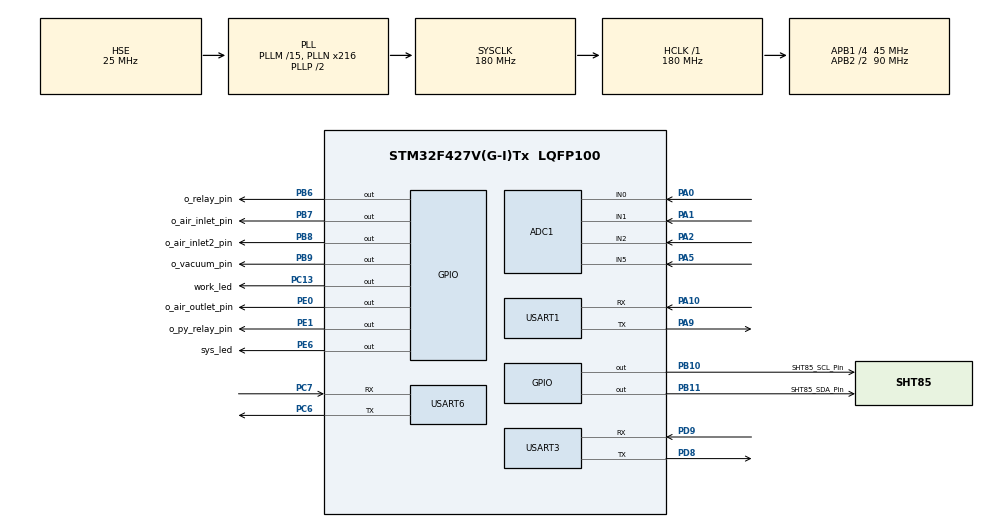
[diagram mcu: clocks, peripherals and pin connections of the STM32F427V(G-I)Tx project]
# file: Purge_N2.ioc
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ADC1.Channel-0\#ChannelRegularConversion=ADC_CHANNEL_1
ADC1.ContinuousConvMode=DISABLE
ADC1.NbrOfConversionFlag=1
ADC1.Rank-0\#ChannelRegularConversion=1
ADC1.SamplingTime-0\#ChannelRegularConversion=ADC_SAMPLETIME_3CYCLES
ADC1.ScanConvMode=DISABLE
ADC1.master=1
Dma.Request0=USART1_RX
Dma.USART1_RX.0.Direction=DMA_PERIPH_TO_MEMORY
Dma.USART1_RX.0.FIFOMode=DMA_FIFOMODE_DISABLE
Dma.USART1_RX.0.Instance=DMA2_Stream2
Dma.USART1_RX.0.MemDataAlignment=DMA_MDATAALIGN_BYTE
Dma.USART1_RX.0.MemInc=DMA_MINC_ENABLE
Dma.USART1_RX.0.Mode=DMA_NORMAL
Dma.USART1_RX.0.PeriphDataAlignment=DMA_PDATAALIGN_BYTE
Dma.USART1_RX.0.PeriphInc=DMA_PINC_DISABLE
Dma.USART1_RX.0.Priority=DMA_PRIORITY_LOW
FREERTOS.Tasks01=defaultTask,24,128,StartDefaultTask,Default,NULL,Dynamic,NULL,NULL;myTask02,24,256,Analyse_HostCMDTask,Default,NULL,Dynamic,NULL,NULL;myTask03,8,128,System_ProcessTask,Default,NULL,Dynamic,NULL,NULL
Mcu.Family=STM32F4
Mcu.Name=STM32F427V(G-I)Tx
Mcu.Package=LQFP100
NVIC.DMA2_Stream2_IRQn=true\:5\:0\:false\:false\:true\:true\:false\:true\:true
NVIC.PriorityGroup=NVIC_PRIORITYGROUP_4
NVIC.TIM1_UP_TIM10_IRQn=true\:15\:0\:false\:false\:true\:false\:false\:true\:true
NVIC.TimeBase=TIM1_UP_TIM10_IRQn
NVIC.TimeBaseIP=TIM10
NVIC.USART1_IRQn=true\:5\:0\:false\:false\:true\:true\:true\:true\:true
NVIC.USART3_IRQn=true\:5\:0\:false\:false\:true\:true\:true\:true\:true
PA0/WKUP.Signal=ADCx_IN0
PA1.Signal=ADCx_IN1
PA10.Mode=Asynchronous
PA10.Signal=USART1_RX
PA13.Mode=Serial_Wire
PA13.Signal=SYS_JTMS-SWDIO
PA14.Mode=Serial_Wire
PA14.Signal=SYS_JTCK-SWCLK
PA2.Signal=ADCx_IN2
PA5.Signal=ADCx_IN5
PA9.Mode=Asynchronous
PA9.Signal=USART1_TX
PB10.GPIO_Label=SHT85_SCL_Pin
PB10.GPIO_ModeDefaultOutputPP=GPIO_MODE_OUTPUT_OD
PB10.GPIO_PuPd=GPIO_NOPULL
PB10.PinState=GPIO_PIN_SET
PB10.Signal=GPIO_Output
PB11.GPIO_Label=SHT85_SDA_Pin
PB11.GPIO_ModeDefaultOutputPP=GPIO_MODE_OUTPUT_OD
PB11.GPIO_PuPd=GPIO_NOPULL
PB11.PinState=GPIO_PIN_SET
PB11.Signal=GPIO_Output
PB6.GPIO_Label=o_relay_pin
PB6.PinState=GPIO_PIN_RESET
PB6.Signal=GPIO_Output
PB7.GPIO_Label=o_air_inlet_pin
PB7.PinState=GPIO_PIN_RESET
PB7.Signal=GPIO_Output
PB8.GPIO_Label=o_air_inlet2_pin
PB8.PinState=GPIO_PIN_RESET
PB8.Signal=GPIO_Output
PB9.GPIO_Label=o_vacuum_pin
PB9.PinState=GPIO_PIN_RESET
PB9.Signal=GPIO_Output
PC13.GPIO_Label=work_led
PC13.Signal=GPIO_Output
PC14/OSC32_IN.Mode=LSE-External-Oscillator
PC14/OSC32_IN.Signal=RCC_OSC32_IN
PC15/OSC32_OUT.Mode=LSE-External-Oscillator
PC15/OSC32_OUT.Signal=RCC_OSC32_OUT
PC6.Mode=Asynchronous
PC6.Signal=USART6_TX
PC7.Mode=Asynchronous
PC7.Signal=USART6_RX
PD8.Mode=Asynchronous
PD8.Signal=USART3_TX
PD9.Mode=Asynchronous
PD9.Signal=USART3_RX
PE0.GPIO_Label=o_air_outlet_pin
PE0.PinState=GPIO_PIN_RESET
PE0.Signal=GPIO_Output
PE1.GPIO_Label=o_py_relay_pin
PE1.PinState=GPIO_PIN_RESET
PE1.Signal=GPIO_Output
PE6.GPIO_Label=sys_led
PE6.Signal=GPIO_Output
PH0/OSC_IN.Mode=HSE-External-Oscillator
PH0/OSC_IN.Signal=RCC_OSC_IN
PH1/OSC_OUT.Mode=HSE-External-Oscillator
PH1/OSC_OUT.Signal=RCC_OSC_OUT
ProjectManager.HeapSize=0x200
ProjectManager.StackSize=0x400
ProjectManager.TargetToolchain=EWARM V8.50
RCC.48MHZClocksFreq_Value=90000000
RCC.AHBFreq_Value=180000000
RCC.APB1CLKDivider=RCC_HCLK_DIV4
RCC.APB1Freq_Value=45000000
RCC.APB1TimFreq_Value=90000000
RCC.APB2CLKDivider=RCC_HCLK_DIV2
RCC.APB2Freq_Value=90000000
RCC.APB2TimFreq_Value=180000000
RCC.CortexFreq_Value=180000000
RCC.HCLKFreq_Value=180000000
RCC.HSE_VALUE=25000000
RCC.HSI_VALUE=16000000
RCC.PLLM=15
RCC.PLLN=216
RCC.PLLSourceVirtual=RCC_PLLSOURCE_HSE
RCC.RCC_RTC_Clock_Source=RCC_RTCCLKSOURCE_LSE
RCC.SYSCLKFreq_VALUE=180000000
RCC.SYSCLKSource=RCC_SYSCLKSOURCE_PLLCLK
RCC.VCOOutputFreq_Value=360000000
SH.ADCx_IN0.0=ADC1_IN0,IN0
SH.ADCx_IN1.0=ADC1_IN1,IN1
SH.ADCx_IN2.0=ADC1_IN2,IN2
SH.ADCx_IN5.0=ADC1_IN5,IN5
USART1.VirtualMode=VM_ASYNC
USART3.VirtualMode=VM_ASYNC
USART6.VirtualMode=VM_ASYNC
VP_FREERTOS_VS_CMSIS_V2.Mode=CMSIS_V2
VP_SYS_VS_tim10.Mode=TIM10
board=custom

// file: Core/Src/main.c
/* USER CODE BEGIN Header */
/**
  ******************************************************************************
  * @file           : main.c
  * @brief          : Main program body
  ******************************************************************************
  * @attention
  *
  * Copyright (c) 2026 STMicroelectronics.
  * All rights reserved.
  *
  * This software is licensed under terms that can be found in the LICENSE file
  * in the root directory of this software component.
  * If no LICENSE file comes with this software, it is provided AS-IS.
  *
  ******************************************************************************
  */
/* USER CODE END Header */
#include "main.h"
#include "cmsis_os.h"
#include "adc.h"
#include "dma.h"
#include "usart.h"
#include "gpio.h"

/* USER CODE BEGIN Includes */

//#include "i2c_SHT85.h"
/* USER CODE END Includes */

/* USER CODE BEGIN PTD */
float o2_value;//全局变量存储氧气浓度值
float *flow_value; //全局变量存储流量值
//STH85_Data_t sth85_data; //全局变量存储STH85传感器数据
//HAL_StatusTypeDef sth85_init_status; //全局变量存储STH85初始化状态
float *temperature; //全局变量存储温度值
float *humidity; //全局变量存储湿度值
uint32_t* serialNumber; //全局变量存储STH85序列号
HAL_StatusTypeDef ret;
uint8_t status_flag = -1;
/* USER CODE END PTD */

/* USER CODE BEGIN PV */
//static PurgeHostComm_t g_host_comm;
/* USER CODE END PV */

void SystemClock_Config(void);
void MX_FREERTOS_Init(void);

/* USER CODE BEGIN 0 */
// 用于在IAR调试器中观察的全局变量
float debug_temperature = 0.0f;  // 调试用温度变量
float debug_humidity = 0.0f;     // 调试用湿度变量
uint32_t debug_serial_number = 0; // 调试用序列号变量
//extern TH_Class_t TH_Class_SHT85;
/* USER CODE END 0 */

int main(void)
{

  /* MCU Configuration--------------------------------------------------------*/

  /* Reset of all peripherals, Initializes the Flash interface and the Systick. */
  HAL_Init();

  /* Configure the system clock */
  SystemClock_Config();

  /* Initialize all configured peripherals */
  MX_GPIO_Init();
  MX_DMA_Init();
  MX_USART1_UART_Init();
  MX_USART6_UART_Init();
  MX_ADC1_Init();
  MX_USART3_UART_Init();

  /* Init scheduler */
  osKernelInitialize();  /* Call init function for freertos objects (in cmsis_os2.c) */
  MX_FREERTOS_Init();

  /* Start scheduler */
  osKernelStart();

  /* We should never get here as control is now taken by the scheduler */

  /* Infinite loop */
  while (1)
  {

    /* USER CODE BEGIN 3 */
    // PurgeHostComm_Process(&g_host_comm);
    // PurgeControl_Process(HAL_GetTick());

    HAL_Delay(500); //1秒间隔
  }
  /* USER CODE END 3 */
}

void SystemClock_Config(void)
{
  RCC_OscInitTypeDef RCC_OscInitStruct = {0};
  RCC_ClkInitTypeDef RCC_ClkInitStruct = {0};

  /** Configure the main internal regulator output voltage
  */
  __HAL_RCC_PWR_CLK_ENABLE();
  __HAL_PWR_VOLTAGESCALING_CONFIG(PWR_REGULATOR_VOLTAGE_SCALE1);

  /** Initializes the RCC Oscillators according to the specified parameters
  * in the RCC_OscInitTypeDef structure.
  */
  RCC_OscInitStruct.OscillatorType = RCC_OSCILLATORTYPE_HSE;
  RCC_OscInitStruct.HSEState = RCC_HSE_ON;
  RCC_OscInitStruct.PLL.PLLState = RCC_PLL_ON;
  RCC_OscInitStruct.PLL.PLLSource = RCC_PLLSOURCE_HSE;
  RCC_OscInitStruct.PLL.PLLM = 15;
  RCC_OscInitStruct.PLL.PLLN = 216;
  RCC_OscInitStruct.PLL.PLLP = RCC_PLLP_DIV2;
  RCC_OscInitStruct.PLL.PLLQ = 4;
  if (HAL_RCC_OscConfig(&RCC_OscInitStruct) != HAL_OK)
  {
    Error_Handler();
  }

  /** Activate the Over-Drive mode
  */
  if (HAL_PWREx_EnableOverDrive() != HAL_OK)
  {
    Error_Handler();
  }

  /** Initializes the CPU, AHB and APB buses clocks
  */
  RCC_ClkInitStruct.ClockType = RCC_CLOCKTYPE_HCLK|RCC_CLOCKTYPE_SYSCLK
                              |RCC_CLOCKTYPE_PCLK1|RCC_CLOCKTYPE_PCLK2;
  RCC_ClkInitStruct.SYSCLKSource = RCC_SYSCLKSOURCE_PLLCLK;
  RCC_ClkInitStruct.AHBCLKDivider = RCC_SYSCLK_DIV1;
  RCC_ClkInitStruct.APB1CLKDivider = RCC_HCLK_DIV4;
  RCC_ClkInitStruct.APB2CLKDivider = RCC_HCLK_DIV2;

  if (HAL_RCC_ClockConfig(&RCC_ClkInitStruct, FLASH_LATENCY_5) != HAL_OK)
  {
    Error_Handler();
  }
}

void HAL_TIM_PeriodElapsedCallback(TIM_HandleTypeDef *htim)
{
  if (htim->Instance == TIM10)
  {
    HAL_IncTick();
  }
}

void Error_Handler(void)
{
  /* USER CODE BEGIN Error_Handler_Debug */
  /* User can add his own implementation to report the HAL error return state */
  __disable_irq();
  while (1)
  {
    HAL_GPIO_WritePin(work_led_GPIO_Port, work_led_Pin, GPIO_PIN_RESET);//设备运行故障，work灯常亮
  }
  /* USER CODE END Error_Handler_Debug */
}

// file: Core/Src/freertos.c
/* USER CODE BEGIN Header */
/**
  ******************************************************************************
  * File Name          : freertos.c
  * Description        : Code for freertos applications
  ******************************************************************************
  * @attention
  *
  * Copyright (c) 2026 STMicroelectronics.
  * All rights reserved.
  *
  * This software is licensed under terms that can be found in the LICENSE file
  * in the root directory of this software component.
  * If no LICENSE file comes with this software, it is provided AS-IS.
  *
  ******************************************************************************
  */
/* USER CODE END Header */

#include "FreeRTOS.h"
#include "task.h"
#include "main.h"
#include "cmsis_os.h"

/* USER CODE BEGIN Variables */
static PurgeHostComm_t g_host_comm;

/* USER CODE END Variables */
/* Definitions for defaultTask */
osThreadId_t defaultTaskHandle;
const osThreadAttr_t defaultTask_attributes = {
  .name = "defaultTask",
  .stack_size = 128 * 4,
  .priority = (osPriority_t) osPriorityNormal,
};
/* Definitions for myTask02 */
osThreadId_t myTask02Handle;
const osThreadAttr_t myTask02_attributes = {
  .name = "myTask02",
  .stack_size = 512 * 4,
  .priority = (osPriority_t) osPriorityNormal,
};
/* Definitions for myTask03 */
osThreadId_t myTask03Handle;
const osThreadAttr_t myTask03_attributes = {
  .name = "myTask03",
  .stack_size = 128 * 4,
  .priority = (osPriority_t) osPriorityLow,
};

void StartDefaultTask(void *argument);
void Analyse_HostCMDTask(void *argument);
void System_ProcessTask(void *argument);

void MX_FREERTOS_Init(void); /* (MISRA C 2004 rule 8.1) */

void MX_FREERTOS_Init(void) {
  /* USER CODE BEGIN Init */
   PurgeControl_Init();
  PurgeHostComm_Init(&g_host_comm);
  /* USER CODE END Init */

  /* Create the thread(s) */
  /* creation of defaultTask */
  defaultTaskHandle = osThreadNew(StartDefaultTask, NULL, &defaultTask_attributes);

  /* creation of myTask02 */
  myTask02Handle = osThreadNew(Analyse_HostCMDTask, NULL, &myTask02_attributes);

  /* creation of myTask03 */
  myTask03Handle = osThreadNew(System_ProcessTask, NULL, &myTask03_attributes);

}

void StartDefaultTask(void *argument)
{
  /* USER CODE BEGIN StartDefaultTask */
  /* Infinite loop */
  for(;;)
  {
    HAL_GPIO_TogglePin(work_led_GPIO_Port, work_led_Pin); //设备正常工作灯闪烁
    osDelay(1000);
  }
  /* USER CODE END StartDefaultTask */
}

void Analyse_HostCMDTask(void *argument)
{
  /* USER CODE BEGIN Analyse_HostCMDTask */
  /* Infinite loop */
  for(;;)
  {
    PurgeHostComm_Process(&g_host_comm);
    osDelay(10);
  }
  /* USER CODE END Analyse_HostCMDTask */
}

void System_ProcessTask(void *argument)
{
  /* USER CODE BEGIN System_ProcessTask */
  /* Infinite loop */
  for(;;)
  {
    PurgeControl_Process(HAL_GetTick());
    osDelay(100);
  }
  /* USER CODE END System_ProcessTask */
}
